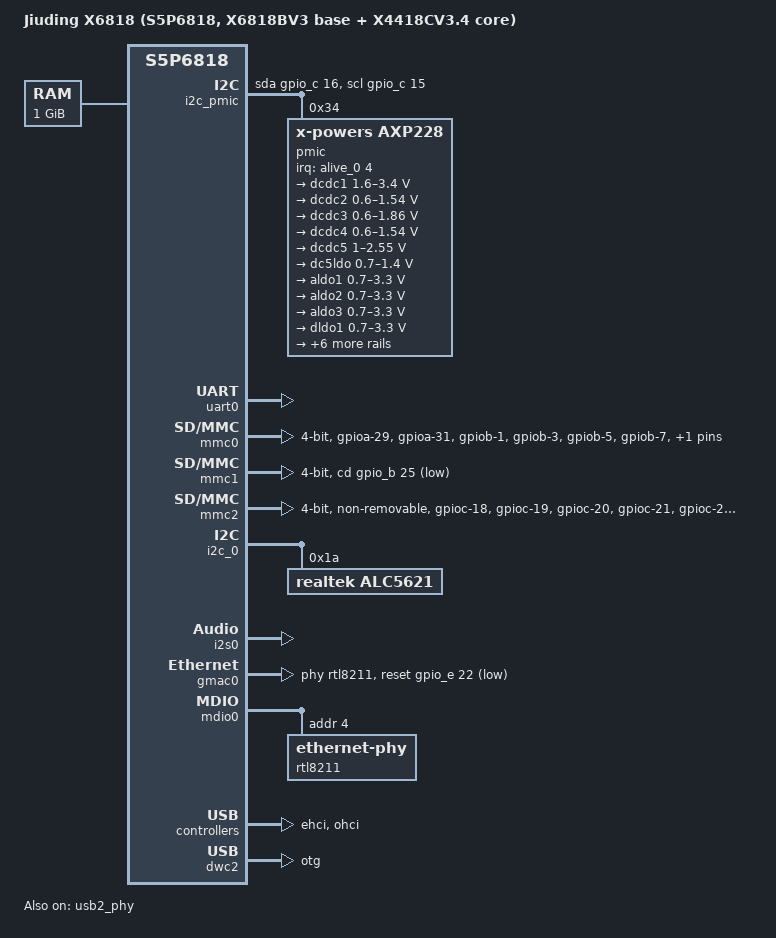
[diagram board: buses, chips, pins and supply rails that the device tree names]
// SPDX-License-Identifier: GPL-2.0
/*
 * Jiuding (九鼎创展) X6818 development board - mainline DT.
 *
 * Hardware, as identified from the physical board and the vendor BSP:
 *   core board : X4418CV3.4, 2017-01-26
 *                - S5P6818 SoC
 *                - 2x K4B4G1646D DDR3  -> 1 GiB
 *                - eMMC on SDMMC2 (KLM8G1GEME-B041, 8 GB, 4-bit)
 *                - AXP228 PMIC behind a bit-banged I2C on GPIOC15/16
 *   base board : X6818BV3, 2017-03-06
 *                - GL850G USB 2.0 hub -> 3x USB-A (silkscreen HUB1..HUB3)
 *                - ALC5621 audio codec on I2C0 @0x1a
 *                - RTL8211E GbE PHY @ MDIO 4, reset on GPIOE-22
 *                - SD0 (SDMMC0) and SD1 (SDMMC1) card slots
 *                - OTG port with SY6280 load switch, EN = GPIOC28
 *
 * Evidence used:
 *   - hardware/x4418cv3/X4418CV3_RELEASE20150713.pdf   (core board schematic)
 *   - hardware/x6818bv3/x6818bv3.pdf                   (base board schematic)
 *   - u-boot board/s5p6818/x6818/{board.c,eth.c}, include/configs/x6818.h,
 *     board/.../include/{cfg_main.h,cfg_gpio.h}
 *   - vendor 3.4 kernel arch/arm/plat-s5p6818/x6818/{device.c,usb-connector.c},
 *     include/{cfg_main.h,cfg_gpio.h,axp22-cfg.h}
 *   - mainline template arch/arm64/boot/dts/nexell/s5p6818-nanopi3-common.dtsi
 *
 * Confirmed live on the board through the u-boot console:
 *   bdinfo        -> DRAM 1 GiB at 0x40000000
 *   mmc info      -> eMMC 7.3 GiB, MMC 4.0, "Bus Width: 4-bit"
 *   i2c dev/probe -> current bus 3, single device 0x34
 *   i2c md 34 3 1 -> 0x06 (AXP228 IC_TYPE, same value as AXP221)
 *   printenv      -> bootargs root=/dev/mmcblk1p1 (eMMC is mmcblk1)
 *
 * Key facts that differ from the NanoPi M3 template:
 *   - PMIC is an AXP228 on a GPIO bit-banged I2C, not absent
 *   - codec is ALC5621 on I2C0 @0x1a (NanoPi: ES8316 @0x11)
 *   - SDMMC1 drives a second SD slot, NOT SDIO WiFi
 *   - RTL8211E sits at MDIO address 4 (NanoPi: 7)
 *   - a GL850G hub fans one SoC host port out to 3 ports, but it has no
 *     controllable reset/enable pin, so it is not described here
 */

/dts-v1/;

#include "s5p6818.dtsi"
#include <dt-bindings/gpio/gpio.h>
#include <dt-bindings/interrupt-controller/irq.h>

/ {
	model = "Jiuding X6818 (S5P6818, X6818BV3 base + X4418CV3.4 core)";
	compatible = "jiuding,x6818bv3", "jiuding,x6818", "nexell,s5p6818";

	aliases {
		serial0 = &uart0;
		/*
		 * Natural 0:1:2 order, which is what the rest of this family
		 * assumes (Armbian's boot script defaults to root=/dev/mmcblk2p1
		 * for the on-board eMMC):
		 *   SD0 -> mmcblk0, SD1 -> mmcblk1, eMMC -> mmcblk2
		 */
		mmc0 = &mmc0;
		mmc1 = &mmc1;
		mmc2 = &mmc2;
	};

	chosen {
		stdout-path = "serial0:115200n8";
	};

	/*
	 * Fallback only: u-boot patches the real size in before booting.
	 * Measured on this board: bdinfo reports DRAM 0x40000000 + 0x40000000
	 * = 1 GiB, matching the two K4B4G1646D (512 MiB each) on the core board.
	 */
	memory@40000000 {
		device_type = "memory";
		reg = <0x0 0x40000000 0x0 0x40000000>;
	};

	/*
	 * PMIC bus.
	 *
	 * The core board does not wire the AXP228 to one of the three SoC I2C
	 * controllers. It bit-bangs the bus on two plain pins instead:
	 *   SCL = GPIOC15   SDA = GPIOC16   ~100 kHz
	 * (u-boot: CONFIG_I2C_GPIO_MODE + CFG_IO_I2C3_{SCL,SDA};
	 *  3.4 kernel: "i2c-gpio" adapter id 3, CFG_I2C3_CLK.)
	 *
	 * Both pads are push-pull only, but the board has external pull-ups
	 * and neither side ever drives the line high, so open-drain emulation
	 * is not required.
	 */
	i2c_pmic: i2c-pmic {
		compatible = "i2c-gpio";
		#address-cells = <1>;
		#size-cells = <0>;
		scl-gpios = <&gpio_c 15 GPIO_ACTIVE_HIGH>;
		sda-gpios = <&gpio_c 16 GPIO_ACTIVE_HIGH>;
		i2c-gpio,delay-us = <5>;	/* ~100 kHz */
		i2c-gpio,timeout-ms = <100>;
		status = "okay";

		/*
		 * AXP228 PMIC, 7-bit address 0x34 (0x68 >> 1).
		 *
		 *   IRQ  : ALIVE GPIO 4, falling edge
		 *          (CFG_GPIO_PMIC_INTR, PWR_DECT_FALLINGEDGE)
		 *   VBUS : ALIVE GPIO 2 reads the PMIC's GPIO0
		 *          (CFG_GPIO_PMIC_VUSB_DET)
		 *   CHG  : ALIVE GPIO 3 is the charger status input
		 *          (MCU_CHG_DET in the schematic)
		 *
		 * vendor rail map (axp22-cfg.h):
		 *   DCDC1 3.3 V sys   DCDC2 1.3 V arm    DCDC3 1.2 V core
		 *   DCDC4 1.6 V sys   DCDC5 1.6 V ddr    DC5LDO 1.2 V cvbs
		 *   ALDO1 3.3 V alive ALDO2 1.8 V alive  ALDO3 1.0 V alive
		 *   DLDO1 3.3 V wide  DLDO2 1.8 V cam
		 *   ELDO1 1.8 V sys   ELDO2 3.3 V wifi   ELDO3 unused
		 *
		 * mainline drivers/mfd/axp20x.c has no AXP228 entry upstream, so
		 * this tree carries a local patch (0032-mfd-axp20x-add-AXP228)
		 * that registers "x-powers,axp228" and maps it onto the AXP221
		 * variant: the chip is register-compatible (DCDC1-5, DC5LDO,
		 * ALDO1-3, DLDO1-4, ELDO1-3 - the same set axp22x_regulators[]
		 * already describes) and answers IC_TYPE with 0x06, which is
		 * exactly AXP221_CHIP_VERSION. The second compatible is a safety
		 * net for trees built without that patch.
		 *
		 * Read live over u-boot's I2C bus 3:  i2c md 34 3 1  ->  0003: 06
		 */
		pmic: pmic@34 {
			compatible = "x-powers,axp228", "x-powers,axp221";
			reg = <0x34>;
			interrupt-parent = <&alive_0>;
			interrupts = <4 IRQ_TYPE_EDGE_FALLING>;
			interrupt-controller;
			#interrupt-cells = <1>;

			/*
			 * Power rails.
			 *
			 * The live register dump (x6818-diag pmic) and the vendor
			 * rail map (axp22-cfg.h) agree on what is already up:
			 *   0x10 = 0xff  DC5LDO, DCDC1-5, ALDO1, ALDO2
			 *   0x12 = 0x09  ELDO1, DLDO1
			 *   0x13 = 0x81  ALDO3
			 * Those eleven therefore carry "regulator-always-on".  It
			 * matters: at late_initcall() the regulator core powers down
			 * any rail that is enabled but unclaimed, and this board has
			 * no consumers for most of them - the vendor BSP simply
			 * relies on the PMIC's power-on defaults to keep SoC, DRAM,
			 * eMMC and the PHY alive.
			 *
			 * The voltage windows below are the chip's full range as
			 * described by axp22x_regulators[] in
			 * drivers/regulator/axp20x-regulator.c.  They are
			 * intentionally not tightened to the measured value:
			 * machine_constraints_voltage() only writes when a rail sits
			 * outside its window, and the PMIC defaults are inside.
			 *
			 * DLDO2 (1.8 V cam), DLDO3, DLDO4, ELDO2 (3.3 V wifi) and
			 * ELDO3 are down and unused here; they are described anyway
			 * so a future consumer can turn one on.
			 */
			regulators {
				x-powers,dcdc-freq = <3000>;	/* AXP22x default */

				dcdc1 {
					regulator-name = "dcdc1";
					regulator-min-microvolt = <1600000>;
					regulator-max-microvolt = <3400000>;
					regulator-always-on;
				};

				dcdc2 {
					regulator-name = "dcdc2";
					regulator-min-microvolt = <600000>;
					regulator-max-microvolt = <1540000>;
					regulator-always-on;
				};

				dcdc3 {
					regulator-name = "dcdc3";
					regulator-min-microvolt = <600000>;
					regulator-max-microvolt = <1860000>;
					regulator-always-on;
				};

				dcdc4 {
					regulator-name = "dcdc4";
					regulator-min-microvolt = <600000>;
					regulator-max-microvolt = <1540000>;
					regulator-always-on;
				};

				dcdc5 {
					regulator-name = "dcdc5";
					regulator-min-microvolt = <1000000>;
					regulator-max-microvolt = <2550000>;
					regulator-always-on;
				};

				dc5ldo {
					regulator-name = "dc5ldo";
					regulator-min-microvolt = <700000>;
					regulator-max-microvolt = <1400000>;
					regulator-always-on;
				};

				aldo1 {
					regulator-name = "aldo1";
					regulator-min-microvolt = <700000>;
					regulator-max-microvolt = <3300000>;
					regulator-always-on;
				};

				aldo2 {
					regulator-name = "aldo2";
					regulator-min-microvolt = <700000>;
					regulator-max-microvolt = <3300000>;
					regulator-always-on;
				};

				aldo3 {
					regulator-name = "aldo3";
					regulator-min-microvolt = <700000>;
					regulator-max-microvolt = <3300000>;
					regulator-always-on;
				};

				dldo1 {
					regulator-name = "dldo1";
					regulator-min-microvolt = <700000>;
					regulator-max-microvolt = <3300000>;
					regulator-always-on;
				};

				dldo2 {
					regulator-name = "dldo2";
					regulator-min-microvolt = <700000>;
					regulator-max-microvolt = <3300000>;
				};

				dldo3 {
					regulator-name = "dldo3";
					regulator-min-microvolt = <700000>;
					regulator-max-microvolt = <3300000>;
				};

				dldo4 {
					regulator-name = "dldo4";
					regulator-min-microvolt = <700000>;
					regulator-max-microvolt = <3300000>;
				};

				eldo1 {
					regulator-name = "eldo1";
					regulator-min-microvolt = <700000>;
					regulator-max-microvolt = <3300000>;
					regulator-always-on;
				};

				eldo2 {
					regulator-name = "eldo2";
					regulator-min-microvolt = <700000>;
					regulator-max-microvolt = <3300000>;
				};

				eldo3 {
					regulator-name = "eldo3";
					regulator-min-microvolt = <700000>;
					regulator-max-microvolt = <3300000>;
				};
			};

			/*
			 * The PMIC's two GPIOs.  On this board PMIC GPIO0 is an
			 * input from the VBUS-detect divider (CFG_GPIO_PMIC_VUSB_DET)
			 * and nothing else is wired to them, so they are exposed
			 * read-only to userspace via the pinctrl/gpio driver.
			 */
			axp_gpio: gpio {
				compatible = "x-powers,axp221-gpio";
				gpio-controller;
				#gpio-cells = <2>;
			};

			/* Battery/charger telemetry.  No battery is fitted, but the
			 * fuel gauge and the VBUS/ACIN state are still readable. */
			axp_adc: adc {
				compatible = "x-powers,axp221-adc";
				#io-channel-cells = <1>;
			};

			axp_battery: battery {
				compatible = "x-powers,axp221-battery-power-supply";
			};

			axp_ac: ac-power {
				compatible = "x-powers,axp221-ac-power-supply";
			};

			axp_usb: usb-power {
				compatible = "x-powers,axp221-usb-power-supply";
			};
		};
	};

	/*
	 * Analog audio: SoC I2S0 (master) -> ALC5621 on I2C0.
	 *
	 * The vendor machine driver is "ASOC-alc5623" with codec_name
	 * "alc562x-codec.0-001a" and codec_dai "alc5621-hifi"; mainline's
	 * sound/soc/codecs/alc5623.c covers ALC5621/5622/5623 through the
	 * same code, so the link is modelled with simple-audio-card.
	 * MCLK (12.288 MHz at 48 kHz, mclk-fs = 256) is driven by I2S0 on
	 * GPIOD13.
	 */
	sound {
		compatible = "simple-audio-card";
		simple-audio-card,name = "x6818-alc5621";
		simple-audio-card,format = "i2s";
		simple-audio-card,mclk-fs = <256>;
		simple-audio-card,bitclock-master = <&snd_cpu>;
		simple-audio-card,frame-master = <&snd_cpu>;

		snd_cpu: simple-audio-card,cpu {
			sound-dai = <&i2s0 0>;
		};

		simple-audio-card,codec {
			sound-dai = <&alc5621>;
		};
	};

	/*
	 * USB.
	 *
	 * The base board carries a GL850G hub: its upstream port is wired to
	 * the SoC USB2.0 HOST pair and it fans out to three USB-A jacks
	 * (silkscreen HUB1..HUB3). The vendor kernel confirms this with
	 * "#define USB_HOST_HUB (1)" in x6818/usb-connector.c.
	 *
	 * The hub still needs no DT node: its REST# is an RC power-on reset
	 * off V33_HUB, PWREN1/2 and OVCUR1#/2# are tied by resistors, and each
	 * downstream port takes VBUS straight from VBAT_USB. There is no GPIO
	 * to model, and the EHCI/OHCI root hub enumerates it at runtime.
	 *
	 * The OTG port is the only software-controlled one: a SY6280AAC load
	 * switch with EN on GPIOC28 (CFG_GPIO_OTG_VBUS_DET).
	 */

	/*
	 * The template's SDIO-WiFi power sequencer only exists for the NanoPi
	 * combo module and is now referenced by nothing, so drop it rather than
	 * leave a stray mmc-pwrseq-simple node holding GPIOB24.
	 */
	/delete-node/ wifi-pwrseq;
};

/* Debug console on UART0, 115200 8N1 (CFG_UART_DEBUG_CH = 0, RS232 level). */
&uart0 {
	status = "okay";
};

/* ------------------------------------------------------------------ */
/* SD / eMMC                                                          */
/* ------------------------------------------------------------------ */

/*
 * SD0 slot on SDMMC0 (GPIOA29 CLK, GPIOA31 CMD, GPIOB1/3/5/7 DAT0-3).
 * Card detect is ALIVE GPIO1 (CFG_SDMMC0_DETECT_IO = PAD_GPIO_ALV + 1),
 * shorted to ground by the socket switch -> active low.
 */
&mmc0 {
	status = "okay";
	bus-width = <4>;
	cd-gpios = <&alive_0 1 GPIO_ACTIVE_LOW>;
	disable-wp;
	pinctrl-names = "default";
	pinctrl-0 = <&sdmmc0_cclk &sdmmc0_cmd &sdmmc0_bus4>;
	/delete-property/ broken-cd;
};

/*
 * SD1 slot on SDMMC1 (GPIOD22 CLK, GPIOD23 CMD, GPIOD24-27 DAT0-3).
 * Card detect is GPIOB25 (CFG_SDMMC1_DETECT_IO = PAD_GPIO_B + 25).
 *
 * The template describes SDMMC1 as the NanoPi's non-removable SDIO WiFi
 * (Broadcom combo with a pwrseq and a wifi@1 child). None of that applies
 * here: this is an ordinary removable card slot, so those properties and
 * the child node are dropped.
 */
&mmc1 {
	status = "okay";
	bus-width = <4>;
	cap-sd-highspeed;
	cd-gpios = <&gpio_b 25 GPIO_ACTIVE_LOW>;
	disable-wp;
	/delete-property/ non-removable;
	/delete-property/ mmc-pwrseq;
	/delete-property/ cap-sdio-irq;
	/delete-property/ keep-power-in-suspend;
	/* No child devices left, so these only trigger a dtc warning. */
	/delete-property/ #address-cells;
	/delete-property/ #size-cells;
	/delete-node/ wifi@1;
};

/*
 * On-board eMMC on SDMMC2 (GPIOC18 CLK, GPIOC19 CMD, GPIOC20-23 DAT0-3),
 * and it is the boot device (CONFIG_SYS_MMC_BOOT_DEV = 2).
 *
 * 4-bit it is: u-boot sets CONFIG_MMC2_BUS_WIDTH 4 and the vendor kernel
 * advertises MMC_CAP_4_BIT_DATA only; the schematic wires MCU_SD2_D0..D3
 * and nothing else. The SDMMC2_CDATA[4..7] alternative on GPIOE21-24 that
 * cfg_gpio.h mentions is therefore unused - which is why GPIOE22 can serve
 * as the Ethernet PHY reset below.
 */
&mmc2 {
	status = "okay";
	bus-width = <4>;
	non-removable;
	disable-wp;
	pinctrl-names = "default";
	pinctrl-0 = <&sdmmc2_cclk &sdmmc2_cmd &sdmmc2_bus4>;
};

/* ------------------------------------------------------------------ */
/* Audio                                                              */
/* ------------------------------------------------------------------ */

/*
 * Only three I2C controllers exist on the SoC. I2C0 carries the codec;
 * I2C1 (HDMI DDC) and I2C2 are not used on this board.
 */
&i2c_0 {
	status = "okay";

	alc5621: audio-codec@1a {
		compatible = "realtek,alc5621";
		reg = <0x1a>;
		#sound-dai-cells = <0>;
	};
};

&i2s0 {
	status = "okay";
};

/* ------------------------------------------------------------------ */
/* Ethernet                                                           */
/* ------------------------------------------------------------------ */

/*
 * GbE: DesignWare GMAC (RGMII, 125 MHz from EXT1) + RTL8211E at MDIO
 * address 4 (u-boot CONFIG_PHY_ADDR 4 / CONFIG_ETHPRIME "RTL8211").
 * Reset is GPIOE-22, active low; u-boot drives it 1 -> 0 -> 1
 * (eth.c: gpio_set_value(...,1); (...,0); (...,1)).
 *
 * If the PHY is ever not found at 4, the NanoPi reference board uses 7 -
 * flip the reg below and the phy-handle before suspecting anything else.
 */
&gmac0 {
	status = "okay";
	phy-handle = <&rtl8211>;
	snps,reset-gpio = <&gpio_e 22 GPIO_ACTIVE_LOW>;
	snps,reset-active-low;
	snps,reset-delays-us = <0 10000 30000>;
};

&mdio0 {
	rtl8211: ethernet-phy@4 {
		reg = <4>;
	};
};

/* ------------------------------------------------------------------ */
/* USB                                                                */
/* ------------------------------------------------------------------ */

&usb2_phy {
	status = "okay";
};

&ehci {
	status = "okay";
};

&ohci {
	status = "okay";
};

/* OTG port behind the SY6280 load switch (EN = GPIOC28). */
&dwc2 {
	status = "okay";
	dr_mode = "otg";
};

/* ------------------------------------------------------------------ */
/* Pin groups the template does not define                            */
/* ------------------------------------------------------------------ */

/*
 * The template only provides SDMMC1's pin groups. eMMC and SD0 used to
 * rely on whatever u-boot left muxed, which breaks as soon as the boot
 * loader changes (e.g. moving to mainline u-boot). Function numbers come
 * from the vendor cfg_gpio.h pad table.
 */
&pinctrl_0 {
	/* Pin group nodes carry no reg, so drop the unused address cells. */
	/delete-property/ #address-cells;
	/delete-property/ #size-cells;

	/* SDMMC0: bank A/B, function 1 */
	sdmmc0_cclk: sdmmc0-cclk {
		nexell,pins = "gpioa-29";
		nexell,pin-function = <1>;
		nexell,pin-pull = <2>;
		nexell,pin-strength = <2>;
	};
	sdmmc0_cmd: sdmmc0-cmd {
		nexell,pins = "gpioa-31";
		nexell,pin-function = <1>;
		nexell,pin-pull = <2>;
		nexell,pin-strength = <1>;
	};
	sdmmc0_bus4: sdmmc0-bus4 {
		nexell,pins = "gpiob-1", "gpiob-3", "gpiob-5", "gpiob-7";
		nexell,pin-function = <1>;
		nexell,pin-pull = <2>;
		nexell,pin-strength = <1>;
	};

	/* SDMMC2 (eMMC): bank C, function 2 */
	sdmmc2_cclk: sdmmc2-cclk {
		nexell,pins = "gpioc-18";
		nexell,pin-function = <2>;
		nexell,pin-pull = <2>;
		nexell,pin-strength = <2>;
	};
	sdmmc2_cmd: sdmmc2-cmd {
		nexell,pins = "gpioc-19";
		nexell,pin-function = <2>;
		nexell,pin-pull = <2>;
		nexell,pin-strength = <1>;
	};
	sdmmc2_bus4: sdmmc2-bus4 {
		nexell,pins = "gpioc-20", "gpioc-21", "gpioc-22", "gpioc-23";
		nexell,pin-function = <2>;
		nexell,pin-pull = <2>;
		nexell,pin-strength = <1>;
	};
};
